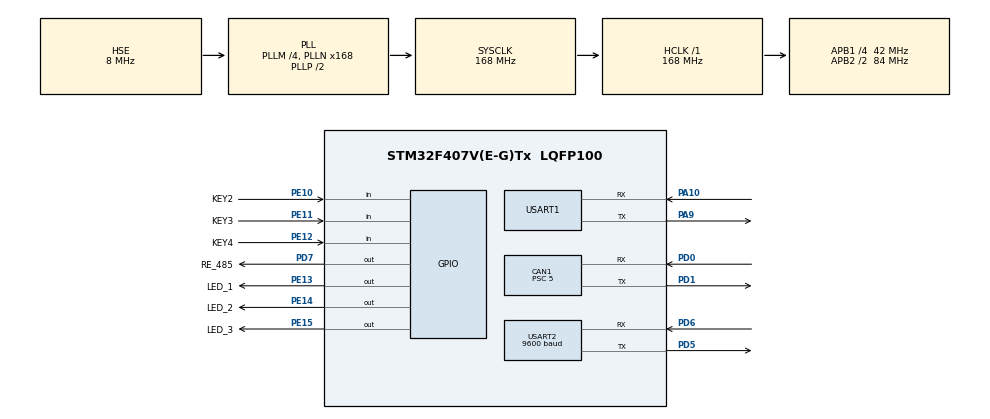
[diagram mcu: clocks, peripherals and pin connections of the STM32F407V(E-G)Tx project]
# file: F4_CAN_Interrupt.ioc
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CAN1.AWUM=ENABLE
CAN1.BS1=CAN_BS1_7TQ
CAN1.BS2=CAN_BS2_4TQ
CAN1.CalculateBaudRate=700000
CAN1.CalculateTimeBit=1428
CAN1.CalculateTimeQuantum=119.04761904761905
CAN1.Mode=CAN_MODE_LOOPBACK
CAN1.NART=ENABLE
CAN1.Prescaler=5
CAN1.TXFP=DISABLE
Mcu.Family=STM32F4
Mcu.Name=STM32F407V(E-G)Tx
Mcu.Package=LQFP100
NVIC.CAN1_RX0_IRQn=true\:1\:0\:true\:false\:true\:true\:true\:true
NVIC.CAN1_RX1_IRQn=true\:1\:0\:true\:false\:true\:true\:true\:true
NVIC.PriorityGroup=NVIC_PRIORITYGROUP_4
NVIC.USART1_IRQn=true\:1\:0\:true\:false\:true\:true\:true\:true
NVIC.USART2_IRQn=true\:1\:0\:true\:false\:true\:true\:true\:true
PA10.Mode=Asynchronous
PA10.Signal=USART1_RX
PA13.Mode=Serial_Wire
PA13.Signal=SYS_JTMS-SWDIO
PA14.Mode=Serial_Wire
PA14.Signal=SYS_JTCK-SWCLK
PA9.Mode=Asynchronous
PA9.Signal=USART1_TX
PD0.Mode=CAN_Activate
PD0.Signal=CAN1_RX
PD1.Mode=CAN_Activate
PD1.Signal=CAN1_TX
PD5.Mode=Asynchronous
PD5.Signal=USART2_TX
PD6.Mode=Asynchronous
PD6.Signal=USART2_RX
PD7.GPIO_Label=RE_485
PD7.Signal=GPIO_Output
PE10.GPIO_Label=KEY2
PE10.GPIO_Mode=GPIO_MODE_INPUT
PE10.GPIO_PuPd=GPIO_PULLUP
PE10.Signal=GPIO_Input
PE11.GPIO_Label=KEY3
PE11.GPIO_PuPd=GPIO_PULLUP
PE11.Signal=GPIO_Input
PE12.GPIO_Label=KEY4
PE12.GPIO_PuPd=GPIO_PULLUP
PE12.Signal=GPIO_Input
PE13.GPIO_Label=LED_1
PE13.GPIO_ModeDefaultOutputPP=GPIO_MODE_OUTPUT_PP
PE13.GPIO_PuPd=GPIO_PULLUP
PE13.Signal=GPIO_Output
PE14.GPIO_Label=LED_2
PE14.GPIO_PuPd=GPIO_PULLUP
PE14.Signal=GPIO_Output
PE15.GPIO_Label=LED_3
PE15.GPIO_PuPd=GPIO_PULLUP
PE15.Signal=GPIO_Output
PH0-OSC_IN.Mode=HSE-External-Oscillator
PH0-OSC_IN.Signal=RCC_OSC_IN
PH1-OSC_OUT.Mode=HSE-External-Oscillator
PH1-OSC_OUT.Signal=RCC_OSC_OUT
ProjectManager.HeapSize=0x200
ProjectManager.StackSize=0x400
ProjectManager.TargetToolchain=MDK-ARM V5.27
RCC.48MHZClocksFreq_Value=24000000
RCC.AHBFreq_Value=168000000
RCC.APB1CLKDivider=RCC_HCLK_DIV4
RCC.APB1Freq_Value=42000000
RCC.APB1TimFreq_Value=84000000
RCC.APB2CLKDivider=RCC_HCLK_DIV2
RCC.APB2Freq_Value=84000000
RCC.APB2TimFreq_Value=168000000
RCC.CortexFreq_Value=168000000
RCC.HCLKFreq_Value=168000000
RCC.HSE_VALUE=8000000
RCC.HSI_VALUE=16000000
RCC.LSE_VALUE=32768
RCC.PLLM=4
RCC.PLLN=168
RCC.PLLQ=14
RCC.PLLSourceVirtual=RCC_PLLSOURCE_HSE
RCC.SYSCLKFreq_VALUE=168000000
RCC.SYSCLKSource=RCC_SYSCLKSOURCE_PLLCLK
RCC.VCOOutputFreq_Value=336000000
USART1.VirtualMode=VM_ASYNC
USART2.BaudRate=9600
USART2.VirtualMode=VM_ASYNC
VP_RNG_VS_RNG.Mode=RNG_Activate
board=custom

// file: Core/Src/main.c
/* USER CODE BEGIN Header */
/**
  ******************************************************************************
  * @file           : main.c
  * @brief          : Main program body
  ******************************************************************************
  * @attention
  *
  * <h2><center>&copy; Copyright (c) 2023 STMicroelectronics.
  * All rights reserved.</center></h2>
  *
  * This software component is licensed by ST under BSD 3-Clause license,
  * the "License"; You may not use this file except in compliance with the
  * License. You may obtain a copy of the License at:
  *                        opensource.org/licenses/BSD-3-Clause
  *
  ******************************************************************************
  */
/* USER CODE END Header */
#include "main.h"
#include "can.h"
#include "rng.h"
#include "usart.h"
#include "gpio.h"

/* USER CODE BEGIN PV */
uint8_t uart1_rx_buf[100];
uint8_t uart1_rx_char = 0;
uint8_t uart1_rx_len  = 0;

uint8_t uart2_rx_buf[10];			/* 不能给太大 */
uint8_t uart2_rx_char = 0;
uint8_t uart2_rx_len  = 0;
uint8_t flag_485 = 0;

uint8_t can_send[8];
/* USER CODE END PV */

void SystemClock_Config(void);

int main(void)
{

  /* MCU Configuration--------------------------------------------------------*/

  /* Reset of all peripherals, Initializes the Flash interface and the Systick. */
  HAL_Init();

  /* Configure the system clock */
  SystemClock_Config();

  /* Initialize all configured peripherals */
  MX_GPIO_Init();
  MX_CAN1_Init();
  MX_USART1_UART_Init();
  MX_USART2_UART_Init();
  MX_RNG_Init();
  /* USER CODE BEGIN 2 */
	/*开启IDLE中断*/
	__HAL_UART_ENABLE_IT(&huart1,UART_IT_IDLE);
	/*开启串口接收中断*/
  __HAL_UART_ENABLE_IT(&huart1,UART_IT_RXNE);
	/*设置接收字符,长度*/
  HAL_UART_Receive_IT(&huart1, &uart1_rx_char, 1);

	__HAL_UART_ENABLE_IT(&huart2,UART_IT_IDLE);
	/*开启串口接收中断*/
  __HAL_UART_ENABLE_IT(&huart2,UART_IT_RXNE);
	/*设置接收字符,长度*/
  HAL_UART_Receive_IT(&huart2, &uart2_rx_char, 1);

	/* RS485上电默认为接收模式 */
	HAL_GPIO_WritePin(RE_485_GPIO_Port, RE_485_Pin, GPIO_PIN_RESET);

	/* CAN设置 */
	__HAL_CAN_ENABLE_IT(&hcan1, CAN_IT_RX_FIFO0_MSG_PENDING);
	__HAL_CAN_ENABLE_IT(&hcan1, CAN_IT_RX_FIFO1_MSG_PENDING);
	CAN1_Set_Filter();

 /* USER CODE BEGIN 2 */

  /* USER CODE END 2 */

  /* Infinite loop */
  /* USER CODE BEGIN WHILE */
	uint8_t ID = 1;
  while (1)
  {
		uint8_t keystatus = Get_Keys_Status();
		if(keystatus)
		{
			if(keystatus == KEY2)						/* 发送数据帧 */
			{
				can_send[0] = RNG_GetRandomNumber(0, 255);
				can_send[1] = RNG_GetRandomNumber(0, 255);
				can_send[2] = RNG_GetRandomNumber(0, 255);
				can_send[3] = RNG_GetRandomNumber(0, 255);
				can_send[4]	= RNG_GetRandomNumber(0, 255);
				can_send[5] = RNG_GetRandomNumber(0, 255);
				can_send[6] = RNG_GetRandomNumber(0, 255);
				can_send[7] = RNG_GetRandomNumber(0, 255);
				printf("发送的信息为\r\n");
				printf("can_send[0] = %d\r\n",can_send[0]);
				printf("can_send[1] = %d\r\n",can_send[1]);
				printf("can_send[2] = %d\r\n",can_send[2]);
				printf("can_send[3] = %d\r\n",can_send[3]);
				printf("can_send[4] = %d\r\n",can_send[4]);
				printf("can_send[5] = %d\r\n",can_send[5]);
				printf("can_send[6] = %d\r\n",can_send[6]);
				printf("can_send[7] = %d\r\n",can_send[7]);
				CAN1_Send_Data_Message(ID++, can_send, sizeof can_send);

				CAN1_Receive_Message();
			}
			else if(keystatus == KEY3)			/* 发送遥控帧 */
			{
				CAN1_Send_Remote_Message(ID++);
				CAN1_Receive_Message();
			}
		}

		static uint8_t led_count;
		led_count++;
		HAL_Delay(1);
		if(led_count > 250)
		{
			led_count = 0;
			HAL_GPIO_TogglePin(LED_1_GPIO_Port, LED_1_Pin);
			printf("RNG--%d",RNG_GetRandomNumber(1, 8));
		}
    /* USER CODE END WHILE */

  }
}

void SystemClock_Config(void)
{
  RCC_OscInitTypeDef RCC_OscInitStruct = {0};
  RCC_ClkInitTypeDef RCC_ClkInitStruct = {0};

  /** Configure the main internal regulator output voltage
  */
  __HAL_RCC_PWR_CLK_ENABLE();
  __HAL_PWR_VOLTAGESCALING_CONFIG(PWR_REGULATOR_VOLTAGE_SCALE1);

  /** Initializes the RCC Oscillators according to the specified parameters
  * in the RCC_OscInitTypeDef structure.
  */
  RCC_OscInitStruct.OscillatorType = RCC_OSCILLATORTYPE_HSE;
  RCC_OscInitStruct.HSEState = RCC_HSE_ON;
  RCC_OscInitStruct.PLL.PLLState = RCC_PLL_ON;
  RCC_OscInitStruct.PLL.PLLSource = RCC_PLLSOURCE_HSE;
  RCC_OscInitStruct.PLL.PLLM = 4;
  RCC_OscInitStruct.PLL.PLLN = 168;
  RCC_OscInitStruct.PLL.PLLP = RCC_PLLP_DIV2;
  RCC_OscInitStruct.PLL.PLLQ = 14;
  if (HAL_RCC_OscConfig(&RCC_OscInitStruct) != HAL_OK)
  {
    Error_Handler();
  }

  /** Initializes the CPU, AHB and APB buses clocks
  */
  RCC_ClkInitStruct.ClockType = RCC_CLOCKTYPE_HCLK|RCC_CLOCKTYPE_SYSCLK
                              |RCC_CLOCKTYPE_PCLK1|RCC_CLOCKTYPE_PCLK2;
  RCC_ClkInitStruct.SYSCLKSource = RCC_SYSCLKSOURCE_PLLCLK;
  RCC_ClkInitStruct.AHBCLKDivider = RCC_SYSCLK_DIV1;
  RCC_ClkInitStruct.APB1CLKDivider = RCC_HCLK_DIV4;
  RCC_ClkInitStruct.APB2CLKDivider = RCC_HCLK_DIV2;

  if (HAL_RCC_ClockConfig(&RCC_ClkInitStruct, FLASH_LATENCY_5) != HAL_OK)
  {
    Error_Handler();
  }
}

/* USER CODE BEGIN 4 */

/* 串口IDLE中断回调 */
void UART_IDLECallBack(UART_HandleTypeDef *huart)
{
	if(huart ->Instance == USART1)
	{
    /*添加接收符*/
    uart1_rx_buf[uart1_rx_len] = '\0';
    /*串口发送接收到的消息*/
    HAL_UART_Transmit(&huart1, uart1_rx_buf, strlen((char*)uart1_rx_buf),100);
    /*开启下一次接收*/
    uart1_rx_len=0;
    /***********处理函数***********/

	}

	if(huart ->Instance == USART2)
	{
    /*添加接收符*/
    uart2_rx_buf[uart2_rx_len] = '\0';
    /*串口发送接收到的消息*/
		RS485_Send_Meg(uart2_rx_buf, strlen((char*)uart2_rx_buf));
    uart2_rx_len=0;
    /***********处理函数***********/

	}

}

/* 串口中断回调函数 */
void HAL_UART_RxCpltCallback(UART_HandleTypeDef *huart)
{
  if(huart->Instance == USART1)
  {
    /*接收当前的数据*/
    uart1_rx_buf[uart1_rx_len] = uart1_rx_char;
    uart1_rx_len++;
    /*再次打开串口中断*/
    HAL_UART_Receive_IT(&huart1, &uart1_rx_char, 1);
  }

	if(huart ->Instance == USART2)
	{
		/*接收当前的数据*/
    uart2_rx_buf[uart2_rx_len] = uart2_rx_char;
    uart2_rx_len++;
    /*再次打开串口中断*/
    HAL_UART_Receive_IT(&huart2, &uart2_rx_char, 1);
	}

}

/* 串口发送完成回调函数 */
void HAL_UART_TxCpltCallback(UART_HandleTypeDef *huart)
{
  if(huart->Instance == USART1)
  {

  }
}

/* CAN的FIFO0接收回调函数 */
void HAL_CAN_RxFifo0MsgPendingCallback(CAN_HandleTypeDef *hcan)
{
	if(hcan == &hcan1)
	{
		uint8_t can_receive[8];

		CAN_RxHeaderTypeDef 	CAN1_RxHeader;

		if(HAL_CAN_GetRxMessage(&hcan1, CAN_RX_FIFO0, &CAN1_RxHeader, can_receive) != HAL_OK)
		{
			printf("HAL_CAN_RxFifo0MsgPendingCallback 设置失败\r\n");
		}
		else
		{
			printf("StdId = %d\r\n",CAN1_RxHeader.StdId);
			printf("IDE (标准格式:0 扩展格式:4)\t = %d\r\n",CAN1_RxHeader.IDE);
			printf("RTR (数据帧  :0 遥控帧  :2)\t = %d\r\n",CAN1_RxHeader.RTR);
			if(CAN1_RxHeader.RTR == CAN_RTR_DATA)				/* 判断是否为数据帧 */
			{
				printf("DLC (数据长度)\t\t\t = %d\r\n",CAN1_RxHeader.DLC);
				printf("can_receive[0] = %d\r\n",can_receive[0]);
				printf("can_receive[1] = %d\r\n",can_receive[1]);
				printf("can_receive[2] = %d\r\n",can_receive[2]);
				printf("can_receive[3] = %d\r\n",can_receive[3]);
				printf("can_receive[4] = %d\r\n",can_receive[4]);
				printf("can_receive[5] = %d\r\n",can_receive[5]);
				printf("can_receive[6] = %d\r\n",can_receive[6]);
				printf("can_receive[7] = %d\r\n",can_receive[7]);
			}
			printf("\r\n\r\n\r\n");
		}

	}
}

void HAL_CAN_RxFifo1MsgPendingCallback(CAN_HandleTypeDef *hcan)
{
	if(hcan == &hcan1)
	{
		uint8_t can_receive[8];

		CAN_RxHeaderTypeDef 	CAN1_RxHeader;

		if(HAL_CAN_GetRxMessage(&hcan1, CAN_RX_FIFO1, &CAN1_RxHeader, can_receive) != HAL_OK)
		{
			printf("HAL_CAN_RxFifo0MsgPendingCallback 设置失败\r\n");
		}
		else
		{
			printf("StdId = %d\r\n",CAN1_RxHeader.StdId);
			printf("IDE (标准格式:0 扩展格式:4)\t = %d\r\n",CAN1_RxHeader.IDE);
			printf("RTR (数据帧  :0 遥控帧  :2)\t = %d\r\n",CAN1_RxHeader.RTR);
			if(CAN1_RxHeader.RTR == CAN_RTR_DATA)				/* 判断是否为数据帧 */
			{
				printf("DLC (数据长度)\t\t\t = %d\r\n",CAN1_RxHeader.DLC);
				printf("can_receive[0] = %d\r\n",can_receive[0]);
				printf("can_receive[1] = %d\r\n",can_receive[1]);
				printf("can_receive[2] = %d\r\n",can_receive[2]);
				printf("can_receive[3] = %d\r\n",can_receive[3]);
				printf("can_receive[4] = %d\r\n",can_receive[4]);
				printf("can_receive[5] = %d\r\n",can_receive[5]);
				printf("can_receive[6] = %d\r\n",can_receive[6]);
				printf("can_receive[7] = %d\r\n",can_receive[7]);
			}
			printf("\r\n\r\n\r\n");
		}

	}
}
/* USER CODE END 4 */

void Error_Handler(void)
{
  __disable_irq();
  while (1)
  {
  }
}
